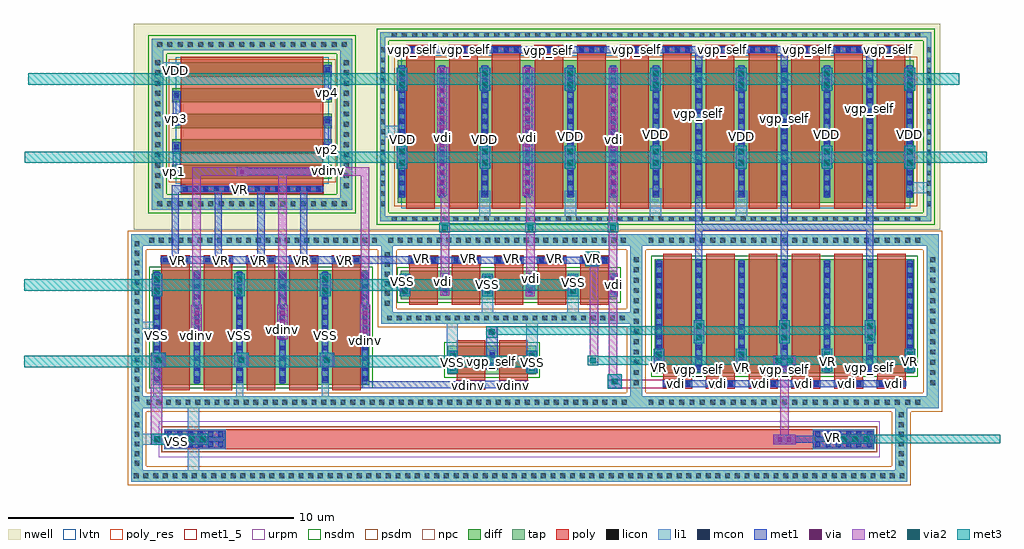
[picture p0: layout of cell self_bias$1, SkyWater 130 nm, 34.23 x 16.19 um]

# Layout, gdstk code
from math import pi, radians
import gdstk
lib = gdstk.Library(unit=1e-6, precision=1e-09)
def R(c, l, rs):  # rectangles x0, y0, x1, y1
    for r in rs: c.add(gdstk.rectangle(r[:2], r[2:], *l))
def A(c, l, x, y, w, h, nx, ny, dx, dy):  # array of equal rectangles
    R(c, l, [(x+i*dx, y+j*dy, x+i*dx+w, y+j*dy+h) for i in range(nx) for j in range(ny)])
def P(c, l, *ps):  # polygons
    for p in ps: c.add(gdstk.Polygon(p, *l))
nwell = (64, 20)
diff = (65, 20)
tap = (65, 44)
poly_res = (66, 13)
poly = (66, 20)
licon = (66, 44)
li1 = (67, 20)
mcon = (67, 44)
met1_5 = (68, 5)
met1 = (68, 20)
via = (68, 44)
met2 = (69, 20)
via2 = (69, 44)
met3 = (70, 20)
urpm = (79, 20)
nsdm = (93, 44)
psdm = (94, 20)
npc = (95, 20)
lvtn = (125, 44)

pfet_11 = lib.new_cell('pfet$11')
R(pfet_11, nwell, [(-0.92,-0.945,19.02,6.285)])
R(pfet_11, diff, [(0,0,18.1,5)])
P(pfet_11, tap, [(-0.615,-0.64),(-0.615,5.81),(-0.445,5.81),(-0.445,-0.47),(18.545,-0.47),(18.545,5.81),(-0.615,5.81),(-0.615,5.98),(18.715,5.98),(18.715,-0.64)])
A(pfet_11, poly, 0.3, -0.2, 1, 5.4, 12, 1, 1.5, 0)
A(pfet_11, poly, 0.3, 5.2, 1, 0.33, 12, 1, 1.5, 0)
A(pfet_11, licon, -0.215, -0.64, 0.17, 0.17, 52, 2, 0.36, 6.45)
A(pfet_11, licon, -0.615, -0.115, 0.17, 0.17, 1, 16, 0, 0.36)
A(pfet_11, licon, 18.545, -0.115, 0.17, 0.17, 1, 16, 0, 0.36)
A(pfet_11, licon, 0.065, 0.255, 0.17, 0.17, 1, 13, 0, 0.36)
A(pfet_11, licon, 1.465, 0.255, 0.17, 0.17, 11, 13, 1.5, 0.36)
A(pfet_11, licon, 17.865, 0.255, 0.17, 0.17, 1, 13, 0, 0.36)
A(pfet_11, licon, 0.355, 5.28, 0.17, 0.17, 3, 1, 0.36, 0)
A(pfet_11, licon, 1.855, 5.28, 0.17, 0.17, 3, 1, 0.36, 0)
A(pfet_11, licon, 3.355, 5.28, 0.17, 0.17, 3, 1, 0.36, 0)
A(pfet_11, licon, 4.855, 5.28, 0.17, 0.17, 3, 1, 0.36, 0)
A(pfet_11, licon, 6.355, 5.28, 0.17, 0.17, 3, 1, 0.36, 0)
A(pfet_11, licon, 7.855, 5.28, 0.17, 0.17, 3, 1, 0.36, 0)
A(pfet_11, licon, 9.355, 5.28, 0.17, 0.17, 3, 1, 0.36, 0)
A(pfet_11, licon, 10.855, 5.28, 0.17, 0.17, 3, 1, 0.36, 0)
A(pfet_11, licon, 12.355, 5.28, 0.17, 0.17, 3, 1, 0.36, 0)
A(pfet_11, licon, 13.855, 5.28, 0.17, 0.17, 3, 1, 0.36, 0)
A(pfet_11, licon, 15.355, 5.28, 0.17, 0.17, 3, 1, 0.36, 0)
A(pfet_11, licon, 16.855, 5.28, 0.17, 0.17, 3, 1, 0.36, 0)
A(pfet_11, li1, 1.465, 0.175, 0.17, 4.65, 11, 1, 1.5, 0)
A(pfet_11, li1, 0.275, 5.28, 1.05, 0.17, 12, 1, 1.5, 0)
R(pfet_11, li1, [(0.065,0.175,0.235,4.825), (17.865,0.175,18.035,4.825)])
P(pfet_11, li1, [(-0.615,-0.64),(-0.615,5.81),(-0.445,5.81),(-0.445,-0.47),(18.545,-0.47),(18.545,5.81),(-0.615,5.81),(-0.615,5.98),(18.715,5.98),(18.715,-0.64)])
A(pfet_11, mcon, 0.065, 0.255, 0.17, 0.17, 1, 13, 0, 0.36)
A(pfet_11, mcon, 1.465, 0.255, 0.17, 0.17, 11, 13, 1.5, 0.36)
A(pfet_11, mcon, 17.865, 0.255, 0.17, 0.17, 1, 13, 0, 0.36)
A(pfet_11, mcon, 0.355, 5.28, 0.17, 0.17, 3, 1, 0.36, 0)
A(pfet_11, mcon, 1.855, 5.28, 0.17, 0.17, 3, 1, 0.36, 0)
A(pfet_11, mcon, 3.355, 5.28, 0.17, 0.17, 3, 1, 0.36, 0)
A(pfet_11, mcon, 4.855, 5.28, 0.17, 0.17, 3, 1, 0.36, 0)
A(pfet_11, mcon, 6.355, 5.28, 0.17, 0.17, 3, 1, 0.36, 0)
A(pfet_11, mcon, 7.855, 5.28, 0.17, 0.17, 3, 1, 0.36, 0)
A(pfet_11, mcon, 9.355, 5.28, 0.17, 0.17, 3, 1, 0.36, 0)
A(pfet_11, mcon, 10.855, 5.28, 0.17, 0.17, 3, 1, 0.36, 0)
A(pfet_11, mcon, 12.355, 5.28, 0.17, 0.17, 3, 1, 0.36, 0)
A(pfet_11, mcon, 13.855, 5.28, 0.17, 0.17, 3, 1, 0.36, 0)
A(pfet_11, mcon, 15.355, 5.28, 0.17, 0.17, 3, 1, 0.36, 0)
A(pfet_11, mcon, 16.855, 5.28, 0.17, 0.17, 3, 1, 0.36, 0)
A(pfet_11, met1, 1.435, 0.195, 0.23, 4.61, 11, 1, 1.5, 0)
A(pfet_11, met1, 0.295, 5.25, 1.01, 0.23, 12, 1, 1.5, 0)
R(pfet_11, met1, [(0.035,0.195,0.265,4.805), (17.835,0.195,18.065,4.805)])
P(pfet_11, nsdm, [(-0.74,-0.765),(-0.74,5.685),(-0.32,5.685),(-0.32,-0.345),(18.42,-0.345),(18.42,5.685),(-0.74,5.685),(-0.74,6.105),(18.84,6.105),(18.84,-0.765)])
R(pfet_11, psdm, [(-0.125,-0.125,18.225,5.125)])
A(pfet_11, npc, 0.29, 5.19, 1.02, 0.35, 12, 1, 1.5, 0)
R(pfet_11, lvtn, [(0.12,-0.18,17.98,5.18)])

nfet_8 = lib.new_cell('nfet$8')
R(nfet_8, diff, [(0,0,7.6,1)])
A(nfet_8, poly, 0.3, -0.2, 1, 1.4, 5, 1, 1.5, 0)
A(nfet_8, poly, 0.3, 1.2, 1, 0.33, 5, 1, 1.5, 0)
A(nfet_8, licon, 1.465, 0.235, 0.17, 0.17, 4, 2, 1.5, 0.36)
A(nfet_8, licon, 0.355, 1.28, 0.17, 0.17, 3, 1, 0.36, 0)
A(nfet_8, licon, 1.855, 1.28, 0.17, 0.17, 3, 1, 0.36, 0)
A(nfet_8, licon, 3.355, 1.28, 0.17, 0.17, 3, 1, 0.36, 0)
A(nfet_8, licon, 4.855, 1.28, 0.17, 0.17, 3, 1, 0.36, 0)
A(nfet_8, licon, 6.355, 1.28, 0.17, 0.17, 3, 1, 0.36, 0)
R(nfet_8, licon, [(0.065,0.235,0.235,0.405), (7.365,0.235,7.535,0.405), (0.065,0.595,0.235,0.765), (7.365,0.595,7.535,0.765)])
A(nfet_8, li1, 1.465, 0.155, 0.17, 0.69, 4, 1, 1.5, 0)
A(nfet_8, li1, 0.275, 1.28, 1.05, 0.17, 5, 1, 1.5, 0)
R(nfet_8, li1, [(0.065,0.155,0.235,0.845), (7.365,0.155,7.535,0.845)])
A(nfet_8, mcon, 1.465, 0.235, 0.17, 0.17, 4, 2, 1.5, 0.36)
A(nfet_8, mcon, 0.355, 1.28, 0.17, 0.17, 3, 1, 0.36, 0)
A(nfet_8, mcon, 1.855, 1.28, 0.17, 0.17, 3, 1, 0.36, 0)
A(nfet_8, mcon, 3.355, 1.28, 0.17, 0.17, 3, 1, 0.36, 0)
A(nfet_8, mcon, 4.855, 1.28, 0.17, 0.17, 3, 1, 0.36, 0)
A(nfet_8, mcon, 6.355, 1.28, 0.17, 0.17, 3, 1, 0.36, 0)
R(nfet_8, mcon, [(0.065,0.235,0.235,0.405), (7.365,0.235,7.535,0.405), (0.065,0.595,0.235,0.765), (7.365,0.595,7.535,0.765)])
A(nfet_8, met1, 1.435, 0.175, 0.23, 0.65, 4, 1, 1.5, 0)
A(nfet_8, met1, 0.295, 1.25, 1.01, 0.23, 5, 1, 1.5, 0)
R(nfet_8, met1, [(0.035,0.175,0.265,0.825), (7.335,0.175,7.565,0.825)])
R(nfet_8, nsdm, [(-0.125,-0.125,7.725,1.125)])
A(nfet_8, npc, 0.29, 1.19, 1.02, 0.35, 5, 1, 1.5, 0)

nfet_1_1 = lib.new_cell('nfet$1$1')
R(nfet_1_1, diff, [(0,0,9.1,4)])
P(nfet_1_1, tap, [(-0.855,-0.88),(-0.855,4.81),(-0.445,4.81),(-0.445,-0.47),(9.545,-0.47),(9.545,4.81),(-0.855,4.81),(-0.855,5.22),(9.955,5.22),(9.955,-0.88)])
A(nfet_1_1, poly, 0.3, -0.2, 1, 4.4, 6, 1, 1.5, 0)
A(nfet_1_1, poly, 0.3, 4.2, 1, 0.33, 6, 1, 1.5, 0)
A(nfet_1_1, licon, -0.215, -0.76, 0.17, 0.17, 27, 2, 0.36, 5.69)
A(nfet_1_1, licon, -0.735, -0.075, 0.17, 0.17, 1, 13, 0, 0.36)
A(nfet_1_1, licon, 9.665, -0.075, 0.17, 0.17, 1, 13, 0, 0.36)
A(nfet_1_1, licon, 0.065, 0.115, 0.17, 0.17, 1, 11, 0, 0.36)
A(nfet_1_1, licon, 1.465, 0.115, 0.17, 0.17, 5, 11, 1.5, 0.36)
A(nfet_1_1, licon, 8.865, 0.115, 0.17, 0.17, 1, 11, 0, 0.36)
A(nfet_1_1, licon, 0.355, 4.28, 0.17, 0.17, 3, 1, 0.36, 0)
A(nfet_1_1, licon, 1.855, 4.28, 0.17, 0.17, 3, 1, 0.36, 0)
A(nfet_1_1, licon, 3.355, 4.28, 0.17, 0.17, 3, 1, 0.36, 0)
A(nfet_1_1, licon, 4.855, 4.28, 0.17, 0.17, 3, 1, 0.36, 0)
A(nfet_1_1, licon, 6.355, 4.28, 0.17, 0.17, 3, 1, 0.36, 0)
A(nfet_1_1, licon, 7.855, 4.28, 0.17, 0.17, 3, 1, 0.36, 0)
A(nfet_1_1, li1, 1.465, 0.035, 0.17, 3.93, 5, 1, 1.5, 0)
A(nfet_1_1, li1, 0.275, 4.28, 1.05, 0.17, 6, 1, 1.5, 0)
R(nfet_1_1, li1, [(0.065,0.035,0.235,3.965), (8.865,0.035,9.035,3.965)])
P(nfet_1_1, li1, [(-0.855,-0.88),(-0.855,4.81),(-0.445,4.81),(-0.445,-0.47),(9.545,-0.47),(9.545,4.81),(-0.855,4.81),(-0.855,5.22),(9.955,5.22),(9.955,-0.88)])
A(nfet_1_1, mcon, 0.065, 0.115, 0.17, 0.17, 1, 11, 0, 0.36)
A(nfet_1_1, mcon, 1.465, 0.115, 0.17, 0.17, 5, 11, 1.5, 0.36)
A(nfet_1_1, mcon, 8.865, 0.115, 0.17, 0.17, 1, 11, 0, 0.36)
A(nfet_1_1, mcon, 0.355, 4.28, 0.17, 0.17, 3, 1, 0.36, 0)
A(nfet_1_1, mcon, 1.855, 4.28, 0.17, 0.17, 3, 1, 0.36, 0)
A(nfet_1_1, mcon, 3.355, 4.28, 0.17, 0.17, 3, 1, 0.36, 0)
A(nfet_1_1, mcon, 4.855, 4.28, 0.17, 0.17, 3, 1, 0.36, 0)
A(nfet_1_1, mcon, 6.355, 4.28, 0.17, 0.17, 3, 1, 0.36, 0)
A(nfet_1_1, mcon, 7.855, 4.28, 0.17, 0.17, 3, 1, 0.36, 0)
A(nfet_1_1, met1, 1.435, 0.055, 0.23, 3.89, 5, 1, 1.5, 0)
A(nfet_1_1, met1, 0.295, 4.25, 1.01, 0.23, 6, 1, 1.5, 0)
R(nfet_1_1, met1, [(0.035,0.055,0.265,3.945), (8.835,0.055,9.065,3.945)])
R(nfet_1_1, nsdm, [(-0.125,-0.125,9.225,4.125)])
P(nfet_1_1, psdm, [(-0.98,-1.005),(-0.98,4.685),(-0.32,4.685),(-0.32,-0.345),(9.42,-0.345),(9.42,4.685),(-0.98,4.685),(-0.98,5.345),(10.08,5.345),(10.08,-1.005)])
A(nfet_1_1, npc, 0.29, 4.19, 1.02, 0.35, 6, 1, 1.5, 0)

vias_gen_3_4 = lib.new_cell('vias_gen$3$4')
R(vias_gen_3_4, tap, [(0,0,0.41,2.32)])
A(vias_gen_3_4, licon, 0.12, 0.225, 0.17, 0.17, 1, 6, 0, 0.34)
R(vias_gen_3_4, li1, [(0,0,0.41,2.32)])
R(vias_gen_3_4, psdm, [(-0.125,-0.125,0.535,2.445)])

vias_gen_72 = lib.new_cell('vias_gen$72')
R(vias_gen_72, tap, [(0,0,8.66,0.41)])
A(vias_gen_72, licon, 0.165, 0.12, 0.17, 0.17, 25, 1, 0.34, 0)
R(vias_gen_72, li1, [(0,0,8.66,0.41)])
R(vias_gen_72, psdm, [(-0.125,-0.125,8.785,0.535)])

nfet_5_2 = lib.new_cell('nfet$5$2')
R(nfet_5_2, diff, [(0,0,3.1,1)])
R(nfet_5_2, poly, [(0.3,-0.2,1.3,1.2), (1.8,-0.2,2.8,1.2), (0.3,1.2,1.3,1.53), (1.8,1.2,2.8,1.53)])
A(nfet_5_2, licon, 0.065, 0.235, 0.17, 0.17, 3, 2, 1.4, 0.36)
A(nfet_5_2, licon, 0.355, 1.28, 0.17, 0.17, 3, 1, 0.36, 0)
A(nfet_5_2, licon, 1.855, 1.28, 0.17, 0.17, 3, 1, 0.36, 0)
A(nfet_5_2, li1, 0.065, 0.155, 0.17, 0.69, 3, 1, 1.4, 0)
R(nfet_5_2, li1, [(0.275,1.28,1.325,1.45), (1.775,1.28,2.825,1.45)])
A(nfet_5_2, mcon, 0.065, 0.235, 0.17, 0.17, 3, 2, 1.4, 0.36)
A(nfet_5_2, mcon, 0.355, 1.28, 0.17, 0.17, 3, 1, 0.36, 0)
A(nfet_5_2, mcon, 1.855, 1.28, 0.17, 0.17, 3, 1, 0.36, 0)
A(nfet_5_2, met1, 0.035, 0.175, 0.23, 0.65, 3, 1, 1.4, 0)
R(nfet_5_2, met1, [(0.295,1.25,1.305,1.48), (1.795,1.25,2.805,1.48)])
R(nfet_5_2, nsdm, [(-0.125,-0.125,3.225,1.125)])
R(nfet_5_2, npc, [(0.29,1.19,1.31,1.54), (1.79,1.19,2.81,1.54)])

res_poly_7 = lib.new_cell('res_poly$7')
R(res_poly_7, poly_res, [(-0.345,-10.35,0.345,10.35)])
R(res_poly_7, poly, [(-0.345,-12.45,0.345,12.45)])
R(res_poly_7, licon, [(-0.095,-12.37,0.095,-10.37), (-0.095,10.37,0.095,12.37)])
R(res_poly_7, li1, [(-0.345,-12.45,0.345,-10.29), (-0.345,10.29,0.345,12.45)])
A(res_poly_7, mcon, -0.265, -12.35, 0.17, 0.17, 1, 6, 0, 0.36)
A(res_poly_7, mcon, 0.095, -12.35, 0.17, 0.17, 1, 6, 0, 0.36)
A(res_poly_7, mcon, -0.265, 10.385, 0.17, 0.17, 1, 6, 0, 0.36)
A(res_poly_7, mcon, 0.095, 10.385, 0.17, 0.17, 1, 6, 0, 0.36)
R(res_poly_7, met1, [(-0.295,-12.42,0.295,-10.315), (-0.295,10.315,0.295,12.42)])
R(res_poly_7, urpm, [(-0.635,-12.65,0.635,12.65)])
R(res_poly_7, psdm, [(-0.455,-12.56,0.455,12.56)])
R(res_poly_7, npc, [(-0.44,-12.545,0.44,12.545)])

nfet_3_4 = lib.new_cell('nfet$3$4')
R(nfet_3_4, diff, [(0,0,7.6,4)])
A(nfet_3_4, poly, 0.3, -0.2, 1, 4.4, 5, 1, 1.5, 0)
A(nfet_3_4, poly, 0.3, 4.2, 1, 0.33, 5, 1, 1.5, 0)
A(nfet_3_4, licon, 0.065, 0.115, 0.17, 0.17, 1, 11, 0, 0.36)
A(nfet_3_4, licon, 1.465, 0.115, 0.17, 0.17, 4, 11, 1.5, 0.36)
A(nfet_3_4, licon, 7.365, 0.115, 0.17, 0.17, 1, 11, 0, 0.36)
A(nfet_3_4, licon, 0.355, 4.28, 0.17, 0.17, 3, 1, 0.36, 0)
A(nfet_3_4, licon, 1.855, 4.28, 0.17, 0.17, 3, 1, 0.36, 0)
A(nfet_3_4, licon, 3.355, 4.28, 0.17, 0.17, 3, 1, 0.36, 0)
A(nfet_3_4, licon, 4.855, 4.28, 0.17, 0.17, 3, 1, 0.36, 0)
A(nfet_3_4, licon, 6.355, 4.28, 0.17, 0.17, 3, 1, 0.36, 0)
A(nfet_3_4, li1, 1.465, 0.035, 0.17, 3.93, 4, 1, 1.5, 0)
A(nfet_3_4, li1, 0.275, 4.28, 1.05, 0.17, 5, 1, 1.5, 0)
R(nfet_3_4, li1, [(0.065,0.035,0.235,3.965), (7.365,0.035,7.535,3.965)])
A(nfet_3_4, mcon, 0.065, 0.115, 0.17, 0.17, 1, 11, 0, 0.36)
A(nfet_3_4, mcon, 1.465, 0.115, 0.17, 0.17, 4, 11, 1.5, 0.36)
A(nfet_3_4, mcon, 7.365, 0.115, 0.17, 0.17, 1, 11, 0, 0.36)
A(nfet_3_4, mcon, 0.355, 4.28, 0.17, 0.17, 3, 1, 0.36, 0)
A(nfet_3_4, mcon, 1.855, 4.28, 0.17, 0.17, 3, 1, 0.36, 0)
A(nfet_3_4, mcon, 3.355, 4.28, 0.17, 0.17, 3, 1, 0.36, 0)
A(nfet_3_4, mcon, 4.855, 4.28, 0.17, 0.17, 3, 1, 0.36, 0)
A(nfet_3_4, mcon, 6.355, 4.28, 0.17, 0.17, 3, 1, 0.36, 0)
A(nfet_3_4, met1, 1.435, 0.055, 0.23, 3.89, 4, 1, 1.5, 0)
A(nfet_3_4, met1, 0.295, 4.25, 1.01, 0.23, 5, 1, 1.5, 0)
R(nfet_3_4, met1, [(0.035,0.055,0.265,3.945), (7.335,0.055,7.565,3.945)])
R(nfet_3_4, nsdm, [(-0.125,-0.125,7.725,4.125)])
A(nfet_3_4, npc, 0.29, 4.19, 1.02, 0.35, 5, 1, 1.5, 0)

vias_gen_1_1 = lib.new_cell('vias_gen$1$1')
R(vias_gen_1_1, tap, [(0,0,17.1,0.41)])
A(vias_gen_1_1, licon, 0.135, 0.12, 0.17, 0.17, 50, 1, 0.34, 0)
R(vias_gen_1_1, li1, [(0,0,17.1,0.41)])
R(vias_gen_1_1, psdm, [(-0.125,-0.125,17.225,0.535)])

vias_gen_2_1 = lib.new_cell('vias_gen$2$1')
R(vias_gen_2_1, tap, [(0,0,8.45,0.41)])
A(vias_gen_2_1, licon, 0.23, 0.12, 0.17, 0.17, 24, 1, 0.34, 0)
R(vias_gen_2_1, li1, [(0,0,8.45,0.41)])
R(vias_gen_2_1, psdm, [(-0.125,-0.125,8.575,0.535)])

vias_gen_4_1 = lib.new_cell('vias_gen$4$1')
R(vias_gen_4_1, tap, [(0,0,0.41,6.1)])
A(vias_gen_4_1, licon, 0.12, 0.245, 0.17, 0.17, 1, 17, 0, 0.34)
R(vias_gen_4_1, li1, [(0,0,0.41,6.1)])
R(vias_gen_4_1, psdm, [(-0.125,-0.125,0.535,6.225)])

guard_ring_gen_4 = lib.new_cell('guard_ring_gen$4')
P(guard_ring_gen_4, tap, [(-0.41,-0.41),(-0.41,5.18),(0,5.18),(0,0),(6.21,0),(6.21,5.18),(-0.41,5.18),(-0.41,5.59),(6.62,5.59),(6.62,-0.41)])
A(guard_ring_gen_4, licon, -0.22, -0.29, 0.17, 0.17, 19, 2, 0.36, 5.59)
A(guard_ring_gen_4, licon, -0.29, 0.345, 0.17, 0.17, 1, 13, 0, 0.36)
A(guard_ring_gen_4, licon, 6.33, 0.345, 0.17, 0.17, 1, 13, 0, 0.36)
P(guard_ring_gen_4, li1, [(-0.41,-0.41),(-0.41,5.18),(0,5.18),(0,0),(6.21,0),(6.21,5.18),(-0.41,5.18),(-0.41,5.59),(6.62,5.59),(6.62,-0.41)])
P(guard_ring_gen_4, nsdm, [(-0.535,-0.535),(-0.535,5.055),(0.125,5.055),(0.125,0.125),(6.085,0.125),(6.085,5.055),(-0.535,5.055),(-0.535,5.715),(6.745,5.715),(6.745,-0.535)])

vias_gen_8_4 = lib.new_cell('vias_gen$8$4')
R(vias_gen_8_4, tap, [(0,0,27.21,0.41)])
A(vias_gen_8_4, licon, 0.09, 0.12, 0.17, 0.17, 80, 1, 0.34, 0)
R(vias_gen_8_4, li1, [(0,0,27.21,0.41)])
R(vias_gen_8_4, psdm, [(-0.125,-0.125,27.335,0.535)])

vias_gen_7_4 = lib.new_cell('vias_gen$7$4')
R(vias_gen_7_4, tap, [(0,0,0.41,2.17)])
A(vias_gen_7_4, licon, 0.12, 0.15, 0.17, 0.17, 1, 6, 0, 0.34)
R(vias_gen_7_4, li1, [(0,0,0.41,2.17)])
R(vias_gen_7_4, psdm, [(-0.125,-0.125,0.535,2.295)])

vias_gen_9_1 = lib.new_cell('vias_gen$9$1')
R(vias_gen_9_1, tap, [(0,0,8.74,0.41)])
A(vias_gen_9_1, licon, 0.205, 0.12, 0.17, 0.17, 25, 1, 0.34, 0)
R(vias_gen_9_1, li1, [(0,0,8.74,0.41)])
R(vias_gen_9_1, psdm, [(-0.125,-0.125,8.865,0.535)])

vias_gen_10_1 = lib.new_cell('vias_gen$10$1')
R(vias_gen_10_1, met1, [(0,0,0.32,0.8)])
R(vias_gen_10_1, via, [(0.085,0.165,0.235,0.315), (0.085,0.485,0.235,0.635)])
R(vias_gen_10_1, met2, [(0,0,0.32,0.8)])

vias_gen_12_4 = lib.new_cell('vias_gen$12$4')
R(vias_gen_12_4, met1, [(0,0,0.32,4.5)])
A(vias_gen_12_4, via, 0.085, 0.095, 0.15, 0.15, 1, 14, 0, 0.32)
R(vias_gen_12_4, met2, [(0,0,0.32,4.5)])

vias_gen_15_1 = lib.new_cell('vias_gen$15$1')
R(vias_gen_15_1, met2, [(0,0,0.37,0.33)])
R(vias_gen_15_1, via2, [(0.085,0.065,0.285,0.265)])
R(vias_gen_15_1, met3, [(0,0,0.37,0.33)])

vias_gen_14_4 = lib.new_cell('vias_gen$14$4')
R(vias_gen_14_4, met1, [(0,0,0.37,0.8)])
R(vias_gen_14_4, via, [(0.11,0.165,0.26,0.315), (0.11,0.485,0.26,0.635)])
R(vias_gen_14_4, met2, [(0,0,0.37,0.8)])
R(vias_gen_14_4, via2, [(0.085,0.1,0.285,0.3), (0.085,0.5,0.285,0.7)])
R(vias_gen_14_4, met3, [(0,0,0.37,0.8)])

vias_gen_16_4 = lib.new_cell('vias_gen$16$4')
R(vias_gen_16_4, met2, [(0,0,0.8,0.33)])
R(vias_gen_16_4, via2, [(0.1,0.065,0.3,0.265), (0.5,0.065,0.7,0.265)])
R(vias_gen_16_4, met3, [(0,0,0.8,0.33)])

vias_gen_18_4 = lib.new_cell('vias_gen$18$4')
R(vias_gen_18_4, met1, [(0,0,0.8,0.33)])
R(vias_gen_18_4, via, [(0.165,0.09,0.315,0.24), (0.485,0.09,0.635,0.24)])
R(vias_gen_18_4, met2, [(0,0,0.8,0.33)])

vias_gen_19_1 = lib.new_cell('vias_gen$19$1')
R(vias_gen_19_1, met1, [(0,0,0.37,0.4)])
R(vias_gen_19_1, via, [(0.11,0.125,0.26,0.275)])
R(vias_gen_19_1, met2, [(0,0,0.37,0.4)])
R(vias_gen_19_1, via2, [(0.085,0.1,0.285,0.3)])
R(vias_gen_19_1, met3, [(0,0,0.37,0.4)])

vias_gen_21_4 = lib.new_cell('vias_gen$21$4')
R(vias_gen_21_4, met1, [(0,0,0.37,1.2)])
A(vias_gen_21_4, via, 0.11, 0.205, 0.15, 0.15, 1, 3, 0, 0.32)
R(vias_gen_21_4, met2, [(0,0,0.37,1.2)])

vias_gen_22_4 = lib.new_cell('vias_gen$22$4')
R(vias_gen_22_4, met1, [(0,0,0.37,0.33)])
R(vias_gen_22_4, via, [(0.11,0.09,0.26,0.24)])
R(vias_gen_22_4, met2, [(0,0,0.37,0.33)])

vias_gen_23_1 = lib.new_cell('vias_gen$23$1')
R(vias_gen_23_1, met1, [(0,0,2,0.4)])
A(vias_gen_23_1, via, 0.125, 0.125, 0.15, 0.15, 6, 1, 0.32, 0)
R(vias_gen_23_1, met2, [(0,0,2,0.4)])
A(vias_gen_23_1, via2, 0.1, 0.1, 0.2, 0.2, 5, 1, 0.4, 0)
R(vias_gen_23_1, met3, [(0,0,2,0.4)])

vias_gen_24_4 = lib.new_cell('vias_gen$24$4')
R(vias_gen_24_4, met1, [(0,0,0.5,0.5)])
R(vias_gen_24_4, via, [(0.175,0.175,0.325,0.325)])
R(vias_gen_24_4, met2, [(0,0,0.5,0.5)])
R(vias_gen_24_4, via2, [(0.15,0.15,0.35,0.35)])
R(vias_gen_24_4, met3, [(0,0,0.5,0.5)])

vias_gen_27_4 = lib.new_cell('vias_gen$27$4')
R(vias_gen_27_4, met1, [(0,0,1.2,0.33)])
A(vias_gen_27_4, via, 0.205, 0.09, 0.15, 0.15, 3, 1, 0.32, 0)
R(vias_gen_27_4, met2, [(0,0,1.2,0.33)])
A(vias_gen_27_4, via2, 0.1, 0.065, 0.2, 0.2, 3, 1, 0.4, 0)
R(vias_gen_27_4, met3, [(0,0,1.2,0.33)])

self_bias_1 = lib.new_cell('self_bias$1')
R(self_bias_1, nwell, [(0.495,7.04,28.78,14.275), (1.71,7.91,7.92,13.34)])
A(self_bias_1, diff, 1.85, 9.715, 5.6, 0.5, 1, 4, 0, 0.9)
R(self_bias_1, diff, [(1.85,8.835,7.45,9.335)])
A(self_bias_1, poly, 2.15, 9.515, 5, 0.9, 1, 4, 0, 0.9)
R(self_bias_1, poly, [(2.15,8.31,7.15,8.64), (2.15,8.635,7.15,9.535)])
A(self_bias_1, licon, 2.225, 8.39, 0.17, 0.17, 14, 1, 0.36, 0)
A(self_bias_1, licon, 1.915, 9.88, 0.17, 0.17, 1, 4, 0, 0.9)
A(self_bias_1, licon, 7.215, 9.88, 0.17, 0.17, 1, 4, 0, 0.9)
R(self_bias_1, licon, [(1.915,9,2.085,9.17), (7.215,9,7.385,9.17)])
A(self_bias_1, li1, 1.915, 9.8, 0.17, 0.33, 1, 4, 0, 0.9)
A(self_bias_1, li1, 7.215, 9.8, 0.17, 0.33, 1, 4, 0, 0.9)
R(self_bias_1, li1, [(2.145,8.39,7.155,8.56), (1.915,8.92,2.085,9.25), (7.215,8.92,7.385,9.25)])
A(self_bias_1, mcon, 2.225, 8.39, 0.17, 0.17, 14, 1, 0.36, 0)
A(self_bias_1, mcon, 1.915, 9.88, 0.17, 0.17, 1, 4, 0, 0.9)
A(self_bias_1, mcon, 7.215, 9.88, 0.17, 0.17, 1, 4, 0, 0.9)
R(self_bias_1, mcon, [(1.915,9,2.085,9.17), (7.215,9,7.385,9.17)])
A(self_bias_1, met1, 1.855, 9.82, 0.29, 0.29, 1, 4, 0, 0.9)
A(self_bias_1, met1, 7.155, 9.82, 0.29, 0.29, 1, 4, 0, 0.9)
R(self_bias_1, met1, [(2.165,8.36,7.135,8.59), (1.855,8.94,2.145,9.23)])
R(self_bias_1, psdm, [(1.725,8.71,7.575,13.03)])
R(self_bias_1, npc, [(2.14,8.3,7.16,8.65)])
R(self_bias_1, lvtn, [(1.97,8.655,7.33,13.1)])
self_bias_1.add(gdstk.FlexPath([(20.31,12.815),(20.31,2.065)], 0.25, ends="flush", simple_path=True, layer=68, datatype=20))  # met1
self_bias_1.add(gdstk.FlexPath([(26.31,12.815),(26.31,2.065)], 0.25, ends="flush", simple_path=True, layer=68, datatype=20))  # met1
self_bias_1.add(gdstk.FlexPath([(17.165,5.975),(10.135,5.975)], 0.25, ends="flush", simple_path=True, layer=68, datatype=20))  # met1
self_bias_1.add(gdstk.FlexPath([(10.055,13.355),(27.585,13.355)], 0.25, ends="flush", simple_path=True, layer=68, datatype=20))  # met1
self_bias_1.add(gdstk.FlexPath([(26.31,12.735),(26.31,13.355)], 0.25, ends="flush", simple_path=True, layer=68, datatype=20))  # met1
self_bias_1.add(gdstk.FlexPath([(23.31,12.565),(23.31,13.48)], 0.25, ends="flush", simple_path=True, layer=68, datatype=20))  # met1
self_bias_1.add(gdstk.FlexPath([(20.31,12.565),(20.31,13.48)], 0.25, ends="flush", simple_path=True, layer=68, datatype=20))  # met1
self_bias_1.add(gdstk.FlexPath([(27.515,1.645),(19.045,1.645)], 0.25, ends="flush", simple_path=True, layer=68, datatype=20))  # met1
self_bias_1.add(gdstk.FlexPath([(26.435,7.14),(20.185,7.14)], 0.25, ends="flush", simple_path=True, layer=68, datatype=20))  # met1
self_bias_1.add(gdstk.FlexPath([(23.31,12.815),(23.31,2.045)], 0.25, ends="flush", simple_path=True, layer=68, datatype=20))  # met1
self_bias_1.add(gdstk.FlexPath([(22.92,-0.305),(26.5,-0.305)], 0.25, ends="flush", simple_path=True, layer=68, datatype=20))  # met1
self_bias_1.add(gdstk.FlexPath([(7.44,9.085),(4.12,9.085)], 0.25, ends="flush", simple_path=True, layer=68, datatype=20))  # met1
self_bias_1.add(gdstk.FlexPath([(2,8.94),(2,10.11)], 0.25, ends="flush", simple_path=True, layer=68, datatype=20))  # met1
self_bias_1.add(gdstk.FlexPath([(7.3,9.82),(7.3,11.01)], 0.25, ends="flush", simple_path=True, layer=68, datatype=20))  # met1
self_bias_1.add(gdstk.FlexPath([(2,10.72),(2,11.91)], 0.25, ends="flush", simple_path=True, layer=68, datatype=20))  # met1
self_bias_1.add(gdstk.FlexPath([(7.3,11.62),(7.3,12.81)], 0.25, ends="flush", simple_path=True, layer=68, datatype=20))  # met1
self_bias_1.add(gdstk.FlexPath([(6.46,5.87),(6.46,8.56)], 0.25, ends="flush", simple_path=True, layer=68, datatype=20))  # met1
self_bias_1.add(gdstk.FlexPath([(4.96,5.87),(4.96,8.56)], 0.25, ends="flush", simple_path=True, layer=68, datatype=20))  # met1
self_bias_1.add(gdstk.FlexPath([(3.46,5.87),(3.46,8.56)], 0.25, ends="flush", simple_path=True, layer=68, datatype=20))  # met1
self_bias_1.add(gdstk.FlexPath([(1.96,5.9),(1.96,8.48),(2.3,8.48)], 0.25, ends="flush", simple_path=True, layer=68, datatype=20))  # met1
self_bias_1.add(gdstk.FlexPath([(1.455,5.985),(8.32,5.985)], 0.25, ends="flush", simple_path=True, layer=68, datatype=20))  # met1
self_bias_1.add(gdstk.FlexPath([(11.81,1.62),(14.32,1.62)], 0.25, ends="flush", simple_path=True, layer=68, datatype=20))  # met1
self_bias_1.add(gdstk.FlexPath([(8.235,5.985),(10.935,5.985)], 0.25, ends="flush", simple_path=True, layer=68, datatype=20))  # met1
self_bias_1.add(gdstk.FlexPath([(13.07,2.135),(13.07,3.66)], 0.4, ends="flush", simple_path=True, layer=68, datatype=20))  # met1
self_bias_1.add(gdstk.FlexPath([(12.045,1.615),(8.495,1.615)], 0.25, ends="flush", simple_path=True, layer=68, datatype=20))  # met1
self_bias_1.add(gdstk.FlexPath([(11.41,4.73),(11.41,12.74)], 0.3, ends="flush", simple_path=True, layer=69, datatype=20))  # met2
self_bias_1.add(gdstk.FlexPath([(14.41,4.71),(14.41,12.735)], 0.3, ends="flush", simple_path=True, layer=69, datatype=20))  # met2
self_bias_1.add(gdstk.FlexPath([(17.31,4.7),(17.31,12.73)], 0.3, ends="flush", simple_path=True, layer=69, datatype=20))  # met2
self_bias_1.add(gdstk.FlexPath([(23.32,2.63),(23.32,-0.47)], 0.3, ends="flush", simple_path=True, layer=69, datatype=20))  # met2
self_bias_1.add(gdstk.FlexPath([(2.705,4.2),(2.705,9.235)], 0.3, ends="flush", simple_path=True, layer=69, datatype=20))  # met2
self_bias_1.add(gdstk.FlexPath([(5.71,4.2),(5.71,9.235)], 0.3, ends="flush", simple_path=True, layer=69, datatype=20))  # met2
self_bias_1.add(gdstk.FlexPath([(8.61,4.2),(8.61,9.23)], 0.3, ends="flush", simple_path=True, layer=69, datatype=20))  # met2
self_bias_1.add(gdstk.FlexPath([(7.45,9.085),(2.555,9.085)], 0.3, ends="flush", simple_path=True, layer=69, datatype=20))  # met2
self_bias_1.add(gdstk.FlexPath([(7.07,9.085),(8.76,9.085)], 0.3, ends="flush", simple_path=True, layer=69, datatype=20))  # met2
self_bias_1.add(gdstk.FlexPath([(16.645,6.13),(16.645,2.3)], 0.3, ends="flush", simple_path=True, layer=69, datatype=20))  # met2
self_bias_1.add(gdstk.FlexPath([(1.29,2.73),(1.29,-0.5)], 0.4, ends="flush", simple_path=True, layer=69, datatype=20))  # met2
self_bias_1.add(gdstk.FlexPath([(17.31,5.015),(17.31,1.48)], 0.3, ends="flush", simple_path=True, layer=69, datatype=20))  # met2
self_bias_1.add(gdstk.FlexPath([(17.49,7.125),(11.22,7.125)], 0.3, ends="flush", simple_path=True, layer=70, datatype=20))  # met3
self_bias_1.add(gdstk.FlexPath([(27.91,2.47),(18.73,2.47)], 0.3, ends="flush", simple_path=True, layer=70, datatype=20))  # met3
self_bias_1.add(gdstk.FlexPath([(12.87,3.51),(26.52,3.51)], 0.3, ends="flush", simple_path=True, layer=70, datatype=20))  # met3
self_bias_1.add(gdstk.FlexPath([(19.1,2.47),(16.495,2.47)], 0.3, ends="flush", simple_path=True, layer=70, datatype=20))  # met3
self_bias_1.add(gdstk.FlexPath([(29.45,12.33),(-3.2,12.33)], 0.4, ends="flush", simple_path=True, layer=70, datatype=20))  # met3
self_bias_1.add(gdstk.FlexPath([(30.42,9.59),(-3.33,9.59)], 0.4, ends="flush", simple_path=True, layer=70, datatype=20))  # met3
self_bias_1.add(gdstk.FlexPath([(16.09,5.11),(-3.35,5.11)], 0.4, ends="flush", simple_path=True, layer=70, datatype=20))  # met3
self_bias_1.add(gdstk.FlexPath([(14.65,2.43),(-3.35,2.43)], 0.4, ends="flush", simple_path=True, layer=70, datatype=20))  # met3
self_bias_1.add(gdstk.FlexPath([(25.2,-0.295),(30.88,-0.295)], 0.3, ends="flush", simple_path=True, layer=70, datatype=20))  # met3
self_bias_1.add(gdstk.FlexPath([(1.31,3.705),(0.41,3.705)], 0.25, ends="flush", simple_path=True, layer=67, datatype=20))  # li1
self_bias_1.add(gdstk.FlexPath([(1.31,1.905),(1.31,0.79)], 0.25, ends="flush", simple_path=True, layer=67, datatype=20))  # li1
self_bias_1.add(gdstk.FlexPath([(4.22,2.16),(4.22,0.79)], 0.25, ends="flush", simple_path=True, layer=67, datatype=20))  # li1
self_bias_1.add(gdstk.FlexPath([(7.21,2.455),(7.21,0.79)], 0.25, ends="flush", simple_path=True, layer=67, datatype=20))  # li1
self_bias_1.add(gdstk.FlexPath([(2.15,12.665),(1.13,12.665)], 0.5, ends="flush", simple_path=True, layer=67, datatype=20))  # li1
self_bias_1.add(gdstk.FlexPath([(10.125,5.11),(9.18,5.11)], 0.4, ends="flush", simple_path=True, layer=67, datatype=20))  # li1
self_bias_1.add(gdstk.FlexPath([(12.91,5.435),(12.91,3.75)], 0.4, ends="flush", simple_path=True, layer=67, datatype=20))  # li1
self_bias_1.add(gdstk.FlexPath([(15.91,5.435),(15.91,3.87)], 0.4, ends="flush", simple_path=True, layer=67, datatype=20))  # li1
self_bias_1.add(gdstk.FlexPath([(18.8,8.51),(18.8,7.35)], 0.4, ends="flush", simple_path=True, layer=67, datatype=20))  # li1
self_bias_1.add(gdstk.FlexPath([(21.81,8.415),(21.81,7.35)], 0.4, ends="flush", simple_path=True, layer=67, datatype=20))  # li1
self_bias_1.add(gdstk.FlexPath([(27.595,8.52),(28.475,8.52)], 0.4, ends="flush", simple_path=True, layer=67, datatype=20))  # li1
self_bias_1.add(gdstk.FlexPath([(15.81,8.415),(15.81,7.35)], 0.4, ends="flush", simple_path=True, layer=67, datatype=20))  # li1
self_bias_1.add(gdstk.FlexPath([(12.81,8.415),(12.81,7.35)], 0.4, ends="flush", simple_path=True, layer=67, datatype=20))  # li1
self_bias_1.add(gdstk.FlexPath([(10.025,10.49),(9.145,10.49)], 0.4, ends="flush", simple_path=True, layer=67, datatype=20))  # li1
self_bias_1.add(gdstk.FlexPath([(1.59,-0.3),(0.41,-0.3)], 0.4, ends="flush", simple_path=True, layer=67, datatype=20))  # li1
self_bias_1.add(gdstk.FlexPath([(2.59,-0.005),(2.59,1.2)], 0.4, ends="flush", simple_path=True, layer=67, datatype=20))  # li1
self_bias_1.add(gdstk.FlexPath([(2.59,-0.395),(2.59,-1.5)], 0.4, ends="flush", simple_path=True, layer=67, datatype=20))  # li1
self_bias_1.add(gdstk.FlexPath([(14.47,2.375),(14.47,4.04)], 0.4, ends="flush", simple_path=True, layer=67, datatype=20))  # li1
self_bias_1.add(gdstk.FlexPath([(11.67,2.375),(11.67,4.16)], 0.4, ends="flush", simple_path=True, layer=67, datatype=20))  # li1
self_bias_1.add(gdstk.FlexPath([(14.47,2.93),(14.47,2.01)], 0.4, ends="flush", simple_path=True, layer=67, datatype=20))  # li1
self_bias_1.add(gdstk.FlexPath([(19.295,1.645),(17.12,1.645)], 0.3, ends="flush", simple_path=True, layer=68, datatype=5))  # met1_5
self_bias_1.add(gdstk.Reference(pfet_11, (9.76,7.99)))
self_bias_1.add(gdstk.Reference(nfet_8, (9.86,4.61)))
self_bias_1.add(gdstk.Reference(nfet_1_1, (18.77,6.01), x_reflection=True))
self_bias_1.add(gdstk.Reference(vias_gen_3_4, (9.18,4.16)))
self_bias_1.add(gdstk.Reference(vias_gen_72, (9.26,6.48)))
self_bias_1.add(gdstk.Reference(nfet_5_2, (11.52,2.98), x_reflection=True))
self_bias_1.add(gdstk.Reference(res_poly_7, (14.02,-0.3), rotation=3*pi/2))
self_bias_1.add(gdstk.Reference(nfet_3_4, (1.16,1.62)))
self_bias_1.add(gdstk.Reference(vias_gen_1_1, (0.82,0.79)))
self_bias_1.add(gdstk.Reference(vias_gen_2_1, (0.81,6.48)))
self_bias_1.add(gdstk.Reference(vias_gen_4_1, (0.41,0.79)))
self_bias_1.add(gdstk.Reference(guard_ring_gen_4, (1.54,8.16)))
self_bias_1.add(gdstk.Reference(vias_gen_8_4, (0.41,-1.79)))
self_bias_1.add(gdstk.Reference(vias_gen_7_4, (27.21,-1.38)))
self_bias_1.add(gdstk.Reference(vias_gen_7_4, (0.41,-1.38)))
self_bias_1.add(gdstk.Reference(vias_gen_9_1, (9.18,3.75)))
self_bias_1.add(gdstk.Reference(vias_gen_10_1, (11.25,4.73)))
self_bias_1.add(gdstk.Reference(vias_gen_10_1, (14.25,4.71)))
self_bias_1.add(gdstk.Reference(vias_gen_10_1, (17.15,4.7)))
self_bias_1.add(gdstk.Reference(vias_gen_12_4, (11.15,8.24)))
self_bias_1.add(gdstk.Reference(vias_gen_12_4, (14.15,8.24)))
self_bias_1.add(gdstk.Reference(vias_gen_12_4, (17.15,8.23)))
self_bias_1.add(gdstk.Reference(vias_gen_15_1, (11.22,6.96)))
self_bias_1.add(gdstk.Reference(vias_gen_15_1, (14.23,6.96)))
self_bias_1.add(gdstk.Reference(vias_gen_15_1, (17.12,6.96)))
self_bias_1.add(gdstk.Reference(vias_gen_14_4, (21.62,2.07)))
self_bias_1.add(gdstk.Reference(vias_gen_14_4, (18.73,2.07)))
self_bias_1.add(gdstk.Reference(vias_gen_14_4, (24.63,2.07)))
self_bias_1.add(gdstk.Reference(vias_gen_14_4, (27.54,2.07)))
self_bias_1.add(gdstk.Reference(vias_gen_16_4, (22.92,2.3)))
self_bias_1.add(gdstk.Reference(vias_gen_18_4, (22.92,-0.47)))
self_bias_1.add(gdstk.Reference(vias_gen_14_4, (23.13,3.07)))
self_bias_1.add(gdstk.Reference(vias_gen_14_4, (20.14,3.07)))
self_bias_1.add(gdstk.Reference(vias_gen_14_4, (26.14,3.07)))
self_bias_1.add(gdstk.Reference(vias_gen_19_1, (12.87,3.26)))
self_bias_1.add(gdstk.Reference(vias_gen_21_4, (5.53,3.21)))
self_bias_1.add(gdstk.Reference(vias_gen_21_4, (2.52,3.21)))
self_bias_1.add(gdstk.Reference(vias_gen_21_4, (8.42,3.21)))
self_bias_1.add(gdstk.Reference(vias_gen_22_4, (4.12,8.92)))
self_bias_1.add(gdstk.Reference(vias_gen_22_4, (7.07,8.92)))
self_bias_1.add(gdstk.Reference(vias_gen_15_1, (16.42,2.3)))
self_bias_1.add(gdstk.Reference(vias_gen_14_4, (9.72,9.195)))
self_bias_1.add(gdstk.Reference(vias_gen_14_4, (12.63,9.195)))
self_bias_1.add(gdstk.Reference(vias_gen_14_4, (15.62,9.195)))
self_bias_1.add(gdstk.Reference(vias_gen_14_4, (18.62,9.195)))
self_bias_1.add(gdstk.Reference(vias_gen_14_4, (21.62,9.195)))
self_bias_1.add(gdstk.Reference(vias_gen_14_4, (24.62,9.195)))
self_bias_1.add(gdstk.Reference(vias_gen_14_4, (27.53,9.195)))
self_bias_1.add(gdstk.Reference(vias_gen_14_4, (27.53,11.93)))
self_bias_1.add(gdstk.Reference(vias_gen_14_4, (24.62,11.93)))
self_bias_1.add(gdstk.Reference(vias_gen_14_4, (21.62,11.93)))
self_bias_1.add(gdstk.Reference(vias_gen_14_4, (18.62,11.93)))
self_bias_1.add(gdstk.Reference(vias_gen_14_4, (15.62,11.93)))
self_bias_1.add(gdstk.Reference(vias_gen_14_4, (12.63,11.93)))
self_bias_1.add(gdstk.Reference(vias_gen_14_4, (9.72,11.93)))
self_bias_1.add(gdstk.Reference(vias_gen_19_1, (1.82,12.46)))
self_bias_1.add(gdstk.Reference(vias_gen_14_4, (9.82,4.71)))
self_bias_1.add(gdstk.Reference(vias_gen_14_4, (12.72,4.71)))
self_bias_1.add(gdstk.Reference(vias_gen_14_4, (15.72,4.71)))
self_bias_1.add(gdstk.Reference(vias_gen_14_4, (7.03,4.71)))
self_bias_1.add(gdstk.Reference(vias_gen_14_4, (4.02,4.71)))
self_bias_1.add(gdstk.Reference(vias_gen_14_4, (1.13,4.71)))
self_bias_1.add(gdstk.Reference(vias_gen_23_1, (1.12,-0.5)))
self_bias_1.add(gdstk.Reference(vias_gen_14_4, (11.5,2.01)))
self_bias_1.add(gdstk.Reference(vias_gen_14_4, (14.28,2.01)))
self_bias_1.add(gdstk.Reference(vias_gen_24_4, (7.03,2.23)))
self_bias_1.add(gdstk.Reference(vias_gen_24_4, (4.03,2.23)))
self_bias_1.add(gdstk.Reference(vias_gen_24_4, (1.12,2.23)))
self_bias_1.add(gdstk.Reference(vias_gen_24_4, (16.33,5.77)))
self_bias_1.add(gdstk.Reference(vias_gen_24_4, (17.12,1.48)))
self_bias_1.add(gdstk.Reference(vias_gen_27_4, (25.2,-0.46)))
self_bias_1.add(gdstk.Label('VDD', (9.91,10.215), layer=68, texttype=5))
self_bias_1.add(gdstk.Label('VDD', (12.81,10.215), layer=68, texttype=5))
self_bias_1.add(gdstk.Label('VDD', (15.81,10.32), layer=68, texttype=5))
self_bias_1.add(gdstk.Label('VDD', (18.81,10.405), layer=68, texttype=5))
self_bias_1.add(gdstk.Label('VDD', (21.82,10.32), layer=68, texttype=5))
self_bias_1.add(gdstk.Label('VDD', (24.81,10.405), layer=68, texttype=5))
self_bias_1.add(gdstk.Label('VDD', (27.71,10.405), layer=68, texttype=5))
self_bias_1.add(gdstk.Label('VDD', (1.97,12.65), layer=68, texttype=5))
self_bias_1.add(gdstk.Label('VSS', (1.31,3.345), layer=68, texttype=5))
self_bias_1.add(gdstk.Label('VSS', (4.21,3.345), layer=68, texttype=5))
self_bias_1.add(gdstk.Label('VSS', (7.21,3.345), layer=68, texttype=5))
self_bias_1.add(gdstk.Label('VSS', (9.925,5.23), layer=68, texttype=5))
self_bias_1.add(gdstk.Label('VSS', (12.91,5.135), layer=68, texttype=5))
self_bias_1.add(gdstk.Label('VSS', (15.91,5.21), layer=68, texttype=5))
self_bias_1.add(gdstk.Label('VR', (18.92,2.22), layer=68, texttype=5))
self_bias_1.add(gdstk.Label('VR', (21.82,2.22), layer=68, texttype=5))
self_bias_1.add(gdstk.Label('VR', (24.82,2.41), layer=68, texttype=5))
self_bias_1.add(gdstk.Label('VR', (27.72,2.41), layer=68, texttype=5))
self_bias_1.add(gdstk.Label('vdi', (11.31,10.27), layer=68, texttype=5))
self_bias_1.add(gdstk.Label('vdi', (14.31,10.27), layer=68, texttype=5))
self_bias_1.add(gdstk.Label('vdi', (17.31,10.215), layer=68, texttype=5))
self_bias_1.add(gdstk.Label('vgp_self', (20.31,11.125), layer=68, texttype=5))
self_bias_1.add(gdstk.Label('vgp_self', (23.31,10.935), layer=68, texttype=5))
self_bias_1.add(gdstk.Label('vgp_self', (26.31,11.295), layer=68, texttype=5))
self_bias_1.add(gdstk.Label('vdi', (11.325,5.23), layer=68, texttype=5))
self_bias_1.add(gdstk.Label('vdi', (17.31,5.135), layer=68, texttype=5))
self_bias_1.add(gdstk.Label('vdi', (14.41,5.325), layer=68, texttype=5))
self_bias_1.add(gdstk.Label('vdinv', (8.61,3.175), layer=68, texttype=5))
self_bias_1.add(gdstk.Label('vdinv', (7.33,9.11), layer=68, texttype=5))
self_bias_1.add(gdstk.Label('vdinv', (2.71,3.345), layer=68, texttype=5))
self_bias_1.add(gdstk.Label('vdinv', (5.71,3.535), layer=68, texttype=5))
self_bias_1.add(gdstk.Label('vgp_self', (20.32,2.16), layer=68, texttype=5))
self_bias_1.add(gdstk.Label('vgp_self', (23.32,2.15), layer=68, texttype=5))
self_bias_1.add(gdstk.Label('vgp_self', (26.32,2.22), layer=68, texttype=5))
self_bias_1.add(gdstk.Label('VR', (25.01,-0.24), layer=68, texttype=5))
self_bias_1.add(gdstk.Label('VSS', (1.99,-0.38), layer=68, texttype=5))
self_bias_1.add(gdstk.Label('vdi', (19.485,1.645), layer=68, texttype=5))
self_bias_1.add(gdstk.Label('vdi', (20.985,1.645), layer=68, texttype=5))
self_bias_1.add(gdstk.Label('vdi', (22.485,1.645), layer=68, texttype=5))
self_bias_1.add(gdstk.Label('vdi', (23.985,1.645), layer=68, texttype=5))
self_bias_1.add(gdstk.Label('vdi', (25.485,1.645), layer=68, texttype=5))
self_bias_1.add(gdstk.Label('vdi', (27.155,1.645), layer=68, texttype=5))
self_bias_1.add(gdstk.Label('VR', (10.575,6.05), layer=68, texttype=5))
self_bias_1.add(gdstk.Label('VR', (12.245,6.05), layer=68, texttype=5))
self_bias_1.add(gdstk.Label('VR', (13.745,6.05), layer=68, texttype=5))
self_bias_1.add(gdstk.Label('VR', (15.245,6.05), layer=68, texttype=5))
self_bias_1.add(gdstk.Label('VR', (16.575,6.05), layer=68, texttype=5))
self_bias_1.add(gdstk.Label('vgp_self', (10.285,13.355), layer=68, texttype=5))
self_bias_1.add(gdstk.Label('vgp_self', (12.145,13.355), layer=68, texttype=5))
self_bias_1.add(gdstk.Label('vgp_self', (13.39,13.38), layer=68, texttype=5))
self_bias_1.add(gdstk.Label('vgp_self', (15.06,13.35), layer=68, texttype=5))
self_bias_1.add(gdstk.Label('vgp_self', (16.835,13.355), layer=68, texttype=5))
self_bias_1.add(gdstk.Label('vgp_self', (18.145,13.355), layer=68, texttype=5))
self_bias_1.add(gdstk.Label('vgp_self', (19.475,13.355), layer=68, texttype=5))
self_bias_1.add(gdstk.Label('vgp_self', (21.145,13.355), layer=68, texttype=5))
self_bias_1.add(gdstk.Label('vgp_self', (22.56,13.44), layer=68, texttype=5))
self_bias_1.add(gdstk.Label('vgp_self', (24.145,13.355), layer=68, texttype=5))
self_bias_1.add(gdstk.Label('vgp_self', (25.475,13.355), layer=68, texttype=5))
self_bias_1.add(gdstk.Label('vgp_self', (26.975,13.355), layer=68, texttype=5))
self_bias_1.add(gdstk.Label('VR', (7.875,5.985), layer=68, texttype=5))
self_bias_1.add(gdstk.Label('VR', (6.375,5.985), layer=68, texttype=5))
self_bias_1.add(gdstk.Label('VR', (4.875,5.985), layer=68, texttype=5))
self_bias_1.add(gdstk.Label('VR', (3.545,5.985), layer=68, texttype=5))
self_bias_1.add(gdstk.Label('VR', (2.045,5.985), layer=68, texttype=5))
self_bias_1.add(gdstk.Label('VR', (4.195,8.475), layer=68, texttype=5))
self_bias_1.add(gdstk.Label('VSS', (14.47,2.39), layer=68, texttype=5))
self_bias_1.add(gdstk.Label('VSS', (11.67,2.39), layer=68, texttype=5))
self_bias_1.add(gdstk.Label('vgp_self', (13.05,2.435), layer=68, texttype=5))
self_bias_1.add(gdstk.Label('vdinv', (12.25,1.575), layer=68, texttype=5))
self_bias_1.add(gdstk.Label('vdinv', (13.81,1.575), layer=68, texttype=5))
self_bias_1.add(gdstk.Label('vp1', (1.915,9.085), layer=68, texttype=5))
self_bias_1.add(gdstk.Label('vp2', (7.3,9.88), layer=68, texttype=5))
self_bias_1.add(gdstk.Label('vp3', (2,10.95), layer=68, texttype=5))
self_bias_1.add(gdstk.Label('vp4', (7.3,11.85), layer=68, texttype=5))

lib.write_gds('self_bias_1.gds')
